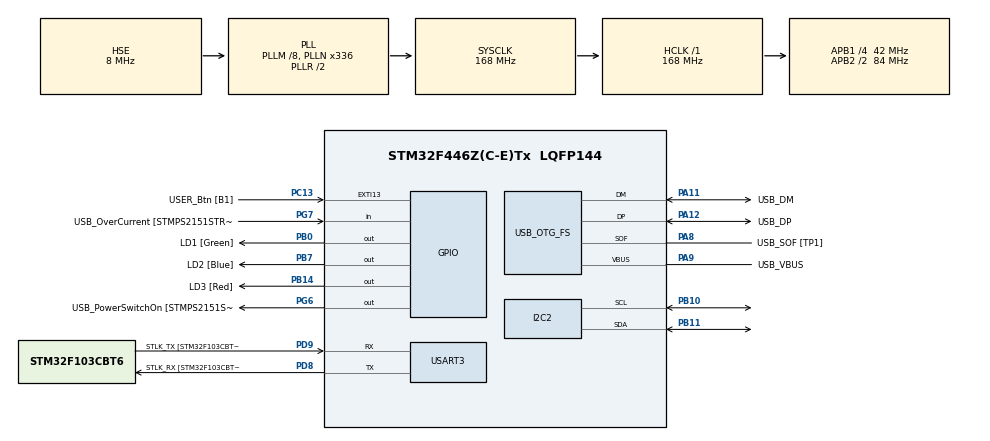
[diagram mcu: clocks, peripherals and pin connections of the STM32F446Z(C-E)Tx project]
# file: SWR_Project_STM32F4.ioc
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Mcu.Family=STM32F4
Mcu.Name=STM32F446Z(C-E)Tx
Mcu.Package=LQFP144
NVIC.PriorityGroup=NVIC_PRIORITYGROUP_4
PA10.GPIO_Label=USB_ID
PA10.Signal=USB_OTG_FS_ID
PA11.GPIO_Label=USB_DM
PA11.Mode=Device_Only
PA11.Signal=USB_OTG_FS_DM
PA12.GPIO_Label=USB_DP
PA12.Mode=Device_Only
PA12.Signal=USB_OTG_FS_DP
PA13.GPIO_Label=TMS
PA13.Mode=Serial_Wire
PA13.Signal=SYS_JTMS-SWDIO
PA14.GPIO_Label=TCK
PA14.Mode=Serial_Wire
PA14.Signal=SYS_JTCK-SWCLK
PA8.GPIO_Label=USB_SOF [TP1]
PA8.Mode=Activate_SOF_FS
PA8.Signal=USB_OTG_FS_SOF
PA9.GPIO_Label=USB_VBUS
PA9.Mode=Activate_VBUS
PA9.Signal=USB_OTG_FS_VBUS
PB0.GPIO_Label=LD1 [Green]
PB0.Signal=GPIO_Output
PB10.Mode=I2C
PB10.Signal=I2C2_SCL
PB11.Mode=I2C
PB11.Signal=I2C2_SDA
PB14.GPIO_Label=LD3 [Red]
PB14.Signal=GPIO_Output
PB7.GPIO_Label=LD2 [Blue]
PB7.Signal=GPIO_Output
PC13.GPIO_Label=USER_Btn [B1]
PC13.Signal=GPXTI13
PC14-OSC32_IN.Mode=LSE-External-Oscillator
PC14-OSC32_IN.Signal=RCC_OSC32_IN
PC15-OSC32_OUT.Mode=LSE-External-Oscillator
PC15-OSC32_OUT.Signal=RCC_OSC32_OUT
PD8.GPIO_Label=STLK_RX [STM32F103CBT6_PA3]
PD8.Mode=Asynchronous
PD8.Signal=USART3_TX
PD9.GPIO_Label=STLK_TX [STM32F103CBT6_PA2]
PD9.Mode=Asynchronous
PD9.Signal=USART3_RX
PG6.GPIO_Label=USB_PowerSwitchOn [STMPS2151STR_EN]
PG6.Signal=GPIO_Output
PG7.GPIO_Label=USB_OverCurrent [STMPS2151STR_FAULT]
PG7.Signal=GPIO_Input
PH0-OSC_IN.GPIO_Label=MCO [STM32F103CBT6_PA8]
PH0-OSC_IN.Mode=HSE-External-Clock-Source
PH0-OSC_IN.Signal=RCC_OSC_IN
PH1-OSC_OUT.Mode=HSE-External-Clock-Source
PH1-OSC_OUT.Signal=RCC_OSC_OUT
ProjectManager.HeapSize=0x200
ProjectManager.StackSize=0x400
ProjectManager.TargetToolchain=STM32CubeIDE
RCC.48MHZClocksFreq_Value=24000000
RCC.AHBFreq_Value=168000000
RCC.APB1CLKDivider=RCC_HCLK_DIV4
RCC.APB1Freq_Value=42000000
RCC.APB1TimFreq_Value=84000000
RCC.APB2CLKDivider=RCC_HCLK_DIV2
RCC.APB2Freq_Value=84000000
RCC.APB2TimFreq_Value=168000000
RCC.CortexFreq_Value=168000000
RCC.HCLKFreq_Value=168000000
RCC.HSE_VALUE=8000000
RCC.HSI_VALUE=16000000
RCC.PLLM=8
RCC.PLLMUL=RCC_PLL_MUL9
RCC.PLLN=336
RCC.PLLQ=7
RCC.PRESCALERUSB=RCC_USBCLKSOURCE_PLL_DIV1_5
RCC.SYSCLKFreq_VALUE=168000000
RCC.SYSCLKSource=RCC_SYSCLKSOURCE_PLLRCLK
RCC.SYSCLKSourceVirtual=RCC_SYSCLKSOURCE_PLLCLK
RCC.USBFreq_Value=48000000
RCC.VCOOutputFreq_Value=336000000
USART3.VirtualMode=VM_ASYNC
USB_OTG_FS.VirtualMode=Device_Only
board=NUCLEO-F446ZE

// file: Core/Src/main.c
/* USER CODE BEGIN Header */
/**
  ******************************************************************************
  * @file           : main.c
  * @brief          : Main program body
  ******************************************************************************
  * @attention
  *
  * Copyright (c) 2023 STMicroelectronics.
  * All rights reserved.
  *
  * This software is licensed under terms that can be found in the LICENSE file
  * in the root directory of this software component.
  * If no LICENSE file comes with this software, it is provided AS-IS.
  *
  ******************************************************************************
  */
/* USER CODE END Header */
#include "main.h"
#include "i2c.h"
#include "usart.h"
#include "usb_otg.h"
#include "gpio.h"

/* USER CODE BEGIN Includes */

#include <stdio.h>
#include "MLX90640_API.h"
#include "MLX90640_I2C_Driver.h"

/* USER CODE END Includes */

/* USER CODE BEGIN PTD */
#define  FPS2HZ   0x02
#define  FPS4HZ   0x03
#define  FPS8HZ   0x04
#define  FPS16HZ  0x05
#define  FPS32HZ  0x06

#define  MLX90640_ADDR 0x33
#define	 RefreshRate FPS4HZ
#define  TA_SHIFT 8 //Default shift for MLX90640 in open air

static uint16_t eeMLX90640[832];
static float mlx90640To[768];
uint16_t frame[834];
float emissivity=0.95;
int status;

/* USER CODE END PTD */

void SystemClock_Config(void);

/* USER CODE BEGIN 0 */

// printf to USART
int __io_putchar(int ch)
{
  if (ch == '\n') {
    __io_putchar('\r');
  }

  HAL_UART_Transmit(&huart3, (uint8_t*)&ch, 1, HAL_MAX_DELAY);

  return 1;
}

// Check i2c connection works
// 1 part Check is device of 0x33 address responds
// 2 part print all responding devices
void scan_i2c()
{
	uint8_t Buffer[25] = {0};
	uint8_t Space[] = " - ";
	uint8_t StartMSG[] = "Starting I2C Scanning: \r\n";
	uint8_t EndMSG[] = "Done! \r\n\r\n";

	uint8_t i = 0, ret;

	for(i=1; i<128; i++)
	    {
			ret = HAL_I2C_IsDeviceReady(&hi2c2, (uint16_t)(i<<1), 3, 5);
	        if (ret != HAL_OK)
	        {
	            HAL_UART_Transmit(&huart3, Space, sizeof(Space), 10000);
	        }
	        else if(ret == HAL_OK)
	        {
	            sprintf(Buffer, "0x%X", i);
	            HAL_UART_Transmit(&huart3, Buffer, sizeof(Buffer), 10000);
	        }
	    }

		HAL_UART_Transmit(&huart3, EndMSG, sizeof(EndMSG), 10000);

}

/* USER CODE END 0 */

int main(void)
{

  /* MCU Configuration--------------------------------------------------------*/

  /* Reset of all peripherals, Initializes the Flash interface and the Systick. */
  HAL_Init();

  /* Configure the system clock */
  SystemClock_Config();

  /* Initialize all configured peripherals */
  MX_GPIO_Init();
  MX_USART3_UART_Init();
  MX_USB_OTG_FS_PCD_Init();
  MX_I2C2_Init();

  /* Infinite loop */
  /* USER CODE BEGIN WHILE */

  // Wait for signal from application to start measurement

  // Scan/check i2c bus works
  //scan_i2c();

  // Camera init
  MLX90640_SetRefreshRate(MLX90640_ADDR, RefreshRate);
  MLX90640_SetChessMode(MLX90640_ADDR);
  paramsMLX90640 mlx90640;
  status = MLX90640_DumpEE(MLX90640_ADDR, eeMLX90640);

  // printf("\nStart I2C check\n");

  if (status != 0){
	  printf("\r\nload system parameters error with code:%d\r\n",status);
  }

  status = MLX90640_ExtractParameters(eeMLX90640, &mlx90640);

  if (status != 0){
	  printf("\r\nParameter extraction failed with error code:%d\r\n",status);
  }

  if (status == 0){
	  printf("\nConfiguration process finished, waiting for input(1) \n");
  }

  HAL_Delay(1000);

  uint8_t value = 0;

  while(value != 49)
  {
  	HAL_UART_Receive(&huart3, &value, 1, HAL_MAX_DELAY);
  	printf("Received data: %u\n", value);
  }

  // TESTS - to check - getting not this data trough uart
  // int refreshRt = MLX90640_GetRefreshRate(MLX90640_ADDR);

  // printf("Debug data: \n");
  // printf("Refresh rate: %d \n", refreshRt);
  // TESTS

  printf("Measurement starts\n");

  while (1)
  {
    /* USER CODE END WHILE */

    /* USER CODE BEGIN 3 */

	// Get frames from camera
    //printf("start\r\n");
	int status = MLX90640_GetFrameData(MLX90640_ADDR, frame);
	if (status < 0)
	{
		printf("GetFrame Error: %d\r\n",status);
	}

	// float vdd = MLX90640_GetVdd(frame, &mlx90640);
	float Ta = MLX90640_GetTa(frame, &mlx90640);

	float tr = Ta - TA_SHIFT; //Reflected temperature based on the sensor ambient temperature
	// printf("vdd:  %f Tr: %f\r\n",vdd,tr);

	// DEBUG: Half data in mlx90640To
	MLX90640_CalculateTo(frame, &mlx90640, emissivity , tr, mlx90640To);

	//printf("end\r\n");

	// Frame starts
	printf("\r\ns\r\n");
	for(int i = 0; i < 768; i++){

		// Line starts
		if(i%32 == 0){
			printf("sl ");
		}

		printf("%2.2f ",mlx90640To[i]);

		if(i%32 == 31){
			printf("el\r\n");
		}
	}

	printf("\r\ne\r\n");

	// Aux delay
	HAL_Delay(100);
  }
  /* USER CODE END 3 */
}

void SystemClock_Config(void)
{
  RCC_OscInitTypeDef RCC_OscInitStruct = {0};
  RCC_ClkInitTypeDef RCC_ClkInitStruct = {0};

  /** Configure the main internal regulator output voltage
  */
  __HAL_RCC_PWR_CLK_ENABLE();
  __HAL_PWR_VOLTAGESCALING_CONFIG(PWR_REGULATOR_VOLTAGE_SCALE1);

  /** Initializes the RCC Oscillators according to the specified parameters
  * in the RCC_OscInitTypeDef structure.
  */
  RCC_OscInitStruct.OscillatorType = RCC_OSCILLATORTYPE_HSE;
  RCC_OscInitStruct.HSEState = RCC_HSE_BYPASS;
  RCC_OscInitStruct.PLL.PLLState = RCC_PLL_ON;
  RCC_OscInitStruct.PLL.PLLSource = RCC_PLLSOURCE_HSE;
  RCC_OscInitStruct.PLL.PLLM = 8;
  RCC_OscInitStruct.PLL.PLLN = 336;
  RCC_OscInitStruct.PLL.PLLP = RCC_PLLP_DIV2;
  RCC_OscInitStruct.PLL.PLLQ = 7;
  RCC_OscInitStruct.PLL.PLLR = 2;
  if (HAL_RCC_OscConfig(&RCC_OscInitStruct) != HAL_OK)
  {
    Error_Handler();
  }

  /** Initializes the CPU, AHB and APB buses clocks
  */
  RCC_ClkInitStruct.ClockType = RCC_CLOCKTYPE_HCLK|RCC_CLOCKTYPE_SYSCLK
                              |RCC_CLOCKTYPE_PCLK1|RCC_CLOCKTYPE_PCLK2;
  RCC_ClkInitStruct.SYSCLKSource = RCC_SYSCLKSOURCE_PLLRCLK;
  RCC_ClkInitStruct.AHBCLKDivider = RCC_SYSCLK_DIV1;
  RCC_ClkInitStruct.APB1CLKDivider = RCC_HCLK_DIV4;
  RCC_ClkInitStruct.APB2CLKDivider = RCC_HCLK_DIV2;

  if (HAL_RCC_ClockConfig(&RCC_ClkInitStruct, FLASH_LATENCY_5) != HAL_OK)
  {
    Error_Handler();
  }
}

void Error_Handler(void)
{
  __disable_irq();
  while (1)
  {
  }
}
